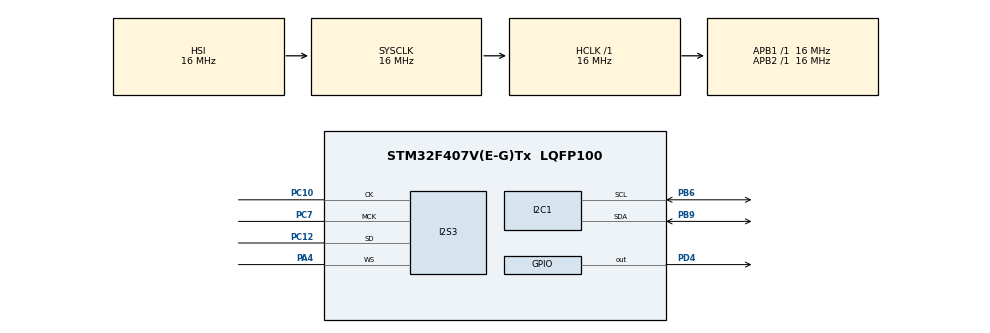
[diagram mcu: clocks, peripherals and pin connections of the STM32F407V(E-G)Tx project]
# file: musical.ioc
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Dma.Request0=SPI3_TX
Dma.SPI3_TX.0.Direction=DMA_MEMORY_TO_PERIPH
Dma.SPI3_TX.0.FIFOMode=DMA_FIFOMODE_ENABLE
Dma.SPI3_TX.0.FIFOThreshold=DMA_FIFO_THRESHOLD_FULL
Dma.SPI3_TX.0.Instance=DMA1_Stream5
Dma.SPI3_TX.0.MemBurst=DMA_MBURST_SINGLE
Dma.SPI3_TX.0.MemDataAlignment=DMA_MDATAALIGN_HALFWORD
Dma.SPI3_TX.0.MemInc=DMA_MINC_ENABLE
Dma.SPI3_TX.0.Mode=DMA_CIRCULAR
Dma.SPI3_TX.0.PeriphBurst=DMA_PBURST_SINGLE
Dma.SPI3_TX.0.PeriphDataAlignment=DMA_PDATAALIGN_HALFWORD
Dma.SPI3_TX.0.PeriphInc=DMA_PINC_DISABLE
Dma.SPI3_TX.0.Priority=DMA_PRIORITY_LOW
I2S3.AudioFreq=I2S_AUDIOFREQ_48K
I2S3.ErrorAudioFreq=-2.34 %
I2S3.FullDuplexMode=I2S_FULLDUPLEXMODE_DISABLE
I2S3.Instance=SPI$Index
I2S3.RealAudioFreq=46.875 KHz
I2S3.VirtualMode=I2S_MODE_MASTER
Mcu.Family=STM32F4
Mcu.Name=STM32F407V(E-G)Tx
Mcu.Package=LQFP100
NVIC.DMA1_Stream5_IRQn=true\:0\:0\:false\:false\:true\:false\:true\:true
NVIC.PriorityGroup=NVIC_PRIORITYGROUP_4
PA4.Mode=Half_Duplex_Master
PA4.Signal=I2S3_WS
PB6.Mode=I2C
PB6.Signal=I2C1_SCL
PB9.Mode=I2C
PB9.Signal=I2C1_SDA
PC10.Mode=Half_Duplex_Master
PC10.Signal=I2S3_CK
PC12.Mode=Half_Duplex_Master
PC12.Signal=I2S3_SD
PC7.Mode=Master_Clock_Activated
PC7.Signal=I2S3_MCK
PD4.Signal=GPIO_Output
ProjectManager.HeapSize=0x200
ProjectManager.StackSize=0x400
ProjectManager.TargetToolchain=STM32CubeIDE
RCC.AHBFreq_Value=16000000
RCC.APB1Freq_Value=16000000
RCC.APB2Freq_Value=16000000
RCC.CortexFreq_Value=16000000
RCC.HSE_VALUE=25000000
RCC.HSI_VALUE=16000000
RCC.LSE_VALUE=32768
RCC.SYSCLKFreq_VALUE=16000000
RCC.VCOOutputFreq_Value=192000000
board=custom

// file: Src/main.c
/* USER CODE BEGIN Header */
/**
  ******************************************************************************
  * @file           : main.c
  * @brief          : Main program body
  ******************************************************************************
  * @attention
  *
  * Copyright (c) 2023 STMicroelectronics.
  * All rights reserved.
  *
  * This software is licensed under terms that can be found in the LICENSE file
  * in the root directory of this software component.
  * If no LICENSE file comes with this software, it is provided AS-IS.
  *
  ******************************************************************************
  */
/* USER CODE END Header */
#include "main.h"

/* USER CODE BEGIN PTD */

typedef enum {
    C4 = 0x00,
    C5 = 0x11,
    D5 = 0x22,
    E5 = 0x33,
    F5 = 0x44,
    G5 = 0x55,
    A5 = 0x66,
    B5 = 0x77,
    C6 = 0x88,
    D6 = 0x99,
    E6 = 0xAA,
    F6 = 0xBB,
    G6 = 0xCC,
    A6 = 0xDD,
    B6 = 0xEE,
    C7 = 0xFF
} BeepFrequencyCode;

/* USER CODE END PTD */

/* USER CODE BEGIN PD */

#define CS43L22_I2C_ADDRESS 0x94
#define I2C_TIMEOUT 10

/* USER CODE END PD */

I2C_HandleTypeDef hi2c1;

I2S_HandleTypeDef hi2s3;
DMA_HandleTypeDef hdma_spi3_tx;

/* USER CODE BEGIN PV */

int16_t dataI2C[100] = {0};

/* USER CODE END PV */

void SystemClock_Config(void);
static void MX_GPIO_Init(void);
static void MX_DMA_Init(void);
static void MX_I2C1_Init(void);
static void MX_I2S3_Init(void);

/* USER CODE BEGIN 0 */
void CS43L22_Init(void)
{
  // Enable chip
  HAL_GPIO_WritePin(GPIOD, GPIO_PIN_4, GPIO_PIN_SET);

  //
  // Initialization
  //
  uint8_t TxBuffer[2];

  TxBuffer[0] = 0x0D;
  TxBuffer[1] = 0x01;
  HAL_I2C_Master_Transmit(&hi2c1, CS43L22_I2C_ADDRESS, (uint8_t*) &TxBuffer, 2, I2C_TIMEOUT);

  TxBuffer[0] = 0x00;
  TxBuffer[1] = 0x99;
  HAL_I2C_Master_Transmit(&hi2c1, CS43L22_I2C_ADDRESS, (uint8_t*) &TxBuffer, 2, I2C_TIMEOUT);

  TxBuffer[0] = 0x47;
  TxBuffer[1] = 0x80;
  HAL_I2C_Master_Transmit(&hi2c1, CS43L22_I2C_ADDRESS, (uint8_t*) &TxBuffer, 2, I2C_TIMEOUT);

  TxBuffer[0] = 0x32;
  TxBuffer[1] = 0xFF;
  HAL_I2C_Master_Transmit(&hi2c1, CS43L22_I2C_ADDRESS, (uint8_t*) &TxBuffer, 2, I2C_TIMEOUT);

  TxBuffer[0] = 0x32;
  TxBuffer[1] = 0x7F;
  HAL_I2C_Master_Transmit(&hi2c1, CS43L22_I2C_ADDRESS, (uint8_t*) &TxBuffer, 2, I2C_TIMEOUT);

  TxBuffer[0] = 0x00;
  TxBuffer[1] = 0x00;
  HAL_I2C_Master_Transmit(&hi2c1, CS43L22_I2C_ADDRESS, (uint8_t*) &TxBuffer, 2, I2C_TIMEOUT);

  TxBuffer[0] = 0x04;
  TxBuffer[1] = 0xAF;
  HAL_I2C_Master_Transmit(&hi2c1, CS43L22_I2C_ADDRESS, (uint8_t*) &TxBuffer, 2, I2C_TIMEOUT);

  TxBuffer[0] = 0x0D;
  TxBuffer[1] = 0x70;
  HAL_I2C_Master_Transmit(&hi2c1, CS43L22_I2C_ADDRESS, (uint8_t*) &TxBuffer, 2, I2C_TIMEOUT);

  TxBuffer[0] = 0x05;
  TxBuffer[1] = 0x81;
  HAL_I2C_Master_Transmit(&hi2c1, CS43L22_I2C_ADDRESS, (uint8_t*) &TxBuffer, 2, I2C_TIMEOUT);

  TxBuffer[0] = 0x06;
  TxBuffer[1] = 0x07;
  HAL_I2C_Master_Transmit(&hi2c1, CS43L22_I2C_ADDRESS, (uint8_t*) &TxBuffer, 2, I2C_TIMEOUT);

  TxBuffer[0] = 0x0A;
  TxBuffer[1] = 0x00;
  HAL_I2C_Master_Transmit(&hi2c1, CS43L22_I2C_ADDRESS, (uint8_t*) &TxBuffer, 2, I2C_TIMEOUT);

  TxBuffer[0] = 0x27;
  TxBuffer[1] = 0x00;
  HAL_I2C_Master_Transmit(&hi2c1, CS43L22_I2C_ADDRESS, (uint8_t*) &TxBuffer, 2, I2C_TIMEOUT);

  TxBuffer[0] = 0x1A;
  TxBuffer[1] = 0x0A;
  HAL_I2C_Master_Transmit(&hi2c1, CS43L22_I2C_ADDRESS, (uint8_t*) &TxBuffer, 2, I2C_TIMEOUT);

  TxBuffer[0] = 0x1B;
  TxBuffer[1] = 0x0A;
  HAL_I2C_Master_Transmit(&hi2c1, CS43L22_I2C_ADDRESS, (uint8_t*) &TxBuffer, 2, I2C_TIMEOUT);

  TxBuffer[0] = 0x1F;
  TxBuffer[1] = 0x0F;
  HAL_I2C_Master_Transmit(&hi2c1, CS43L22_I2C_ADDRESS, (uint8_t*) &TxBuffer, 2, I2C_TIMEOUT);

  TxBuffer[0] = 0x02;
  TxBuffer[1] = 0x9E;
  HAL_I2C_Master_Transmit(&hi2c1, CS43L22_I2C_ADDRESS, (uint8_t*) &TxBuffer, 2, I2C_TIMEOUT);
}

void CS43L22_Beep(BeepFrequencyCode pitch, uint32_t duration_ms)
{
  uint8_t TxBuffer[2];

  // Set volume and off time
  TxBuffer[0] = 0x1D;    // Register address
  TxBuffer[1] = 0x77;    // Value (volume and off time)
  HAL_I2C_Master_Transmit(&hi2c1, CS43L22_I2C_ADDRESS, (uint8_t*) &TxBuffer, 2, I2C_TIMEOUT);

  // Set sound frequency
  TxBuffer[0] = 0x1C;    // Register address

      TxBuffer[1] = pitch;    // Value (frequency and on time)
  HAL_I2C_Master_Transmit(&hi2c1, CS43L22_I2C_ADDRESS, (uint8_t*) &TxBuffer, 2, I2C_TIMEOUT);

  // Enable continuous mode (SOUND STARTED)
  TxBuffer[0] = 0x1E;    // Register address
  TxBuffer[1] = 0xC0;    // Value (beep and tone configuration)
  HAL_I2C_Master_Transmit(&hi2c1, CS43L22_I2C_ADDRESS, (uint8_t*) &TxBuffer, 2, I2C_TIMEOUT);

  // Playing...
  HAL_Delay(duration_ms);
  // Disable continuous mode (SOUND STOPED)
    TxBuffer[0] = 0x1E;    // Register address
    TxBuffer[1] = 0x00;    // Value (beep and tone configuration)
    HAL_I2C_Master_Transmit(&hi2c1, CS43L22_I2C_ADDRESS, (uint8_t*) &TxBuffer, 2, I2C_TIMEOUT);
  }

/* USER CODE END 0 */

int main(void)
{

  /* MCU Configuration--------------------------------------------------------*/

  /* Reset of all peripherals, Initializes the Flash interface and the Systick. */
  HAL_Init();

  /* Configure the system clock */
  SystemClock_Config();

  /* Initialize all configured peripherals */
  MX_GPIO_Init();
  MX_DMA_Init();
  MX_I2C1_Init();
  MX_I2S3_Init();
  /* USER CODE BEGIN 2 */

  CS43L22_Init();

  HAL_I2S_Transmit_DMA(&hi2s3, (uint16_t *)dataI2C, 100);

  uint16_t dataI2S = 0;

  int quarterNote = 60000 / 120;
      int eighthNote = quarterNote / 2;
      int halfNote = quarterNote * 2;
      int dottedQuaterNote = quarterNote + eighthNote;

  /* USER CODE END 2 */

  /* Infinite loop */
  /* USER CODE BEGIN WHILE */
  while (1)
  {
	  // Harry Potter Melody
	  CS43L22_Beep(G5, quarterNote); // G
	  HAL_Delay(100);
	  CS43L22_Beep(A5, quarterNote); // A
	  HAL_Delay(100);
	  CS43L22_Beep(F5, quarterNote); // F
	  HAL_Delay(100);
	  CS43L22_Beep(E5, eighthNote); // E
	  HAL_Delay(100);
	  CS43L22_Beep(D5, quarterNote); // D
	  HAL_Delay(100);
	  CS43L22_Beep(E5, eighthNote); // E
	  HAL_Delay(100);
	  CS43L22_Beep(F5, halfNote);   // F
	  HAL_Delay(100);

	  CS43L22_Beep(G5, quarterNote); // G
	  HAL_Delay(100);
	  CS43L22_Beep(A5, quarterNote); // A
	  HAL_Delay(100);
	  CS43L22_Beep(F5, quarterNote); // F
	  HAL_Delay(100);
	  CS43L22_Beep(E5, eighthNote); // E
	  HAL_Delay(100);
	  CS43L22_Beep(D5, quarterNote); // D
	  HAL_Delay(100);
	  CS43L22_Beep(E5, eighthNote); // E
	  HAL_Delay(100);
	  CS43L22_Beep(F5, halfNote);   // F
	  HAL_Delay(100);

    /* USER CODE END WHILE */

  }
}

void SystemClock_Config(void)
{
  RCC_OscInitTypeDef RCC_OscInitStruct = {0};
  RCC_ClkInitTypeDef RCC_ClkInitStruct = {0};

  /** Macro to configure the PLL multiplication factor
  */
  __HAL_RCC_PLL_PLLM_CONFIG(16);

  /** Macro to configure the PLL clock source
  */
  __HAL_RCC_PLL_PLLSOURCE_CONFIG(RCC_PLLSOURCE_HSI);

  /** Configure the main internal regulator output voltage
  */
  __HAL_RCC_PWR_CLK_ENABLE();
  __HAL_PWR_VOLTAGESCALING_CONFIG(PWR_REGULATOR_VOLTAGE_SCALE1);

  /** Initializes the RCC Oscillators according to the specified parameters
  * in the RCC_OscInitTypeDef structure.
  */
  RCC_OscInitStruct.OscillatorType = RCC_OSCILLATORTYPE_HSI;
  RCC_OscInitStruct.HSIState = RCC_HSI_ON;
  RCC_OscInitStruct.HSICalibrationValue = RCC_HSICALIBRATION_DEFAULT;
  RCC_OscInitStruct.PLL.PLLState = RCC_PLL_NONE;
  RCC_OscInitStruct.PLL.PLLSource = RCC_PLLSOURCE_HSI;
  if (HAL_RCC_OscConfig(&RCC_OscInitStruct) != HAL_OK)
  {
    Error_Handler();
  }

  /** Initializes the CPU, AHB and APB buses clocks
  */
  RCC_ClkInitStruct.ClockType = RCC_CLOCKTYPE_HCLK|RCC_CLOCKTYPE_SYSCLK
                              |RCC_CLOCKTYPE_PCLK1|RCC_CLOCKTYPE_PCLK2;
  RCC_ClkInitStruct.SYSCLKSource = RCC_SYSCLKSOURCE_HSI;
  RCC_ClkInitStruct.AHBCLKDivider = RCC_SYSCLK_DIV1;
  RCC_ClkInitStruct.APB1CLKDivider = RCC_HCLK_DIV1;
  RCC_ClkInitStruct.APB2CLKDivider = RCC_HCLK_DIV1;

  if (HAL_RCC_ClockConfig(&RCC_ClkInitStruct, FLASH_LATENCY_0) != HAL_OK)
  {
    Error_Handler();
  }
}

static void MX_I2C1_Init(void)
{

  hi2c1.Instance = I2C1;
  hi2c1.Init.ClockSpeed = 100000;
  hi2c1.Init.DutyCycle = I2C_DUTYCYCLE_2;
  hi2c1.Init.OwnAddress1 = 0;
  hi2c1.Init.AddressingMode = I2C_ADDRESSINGMODE_7BIT;
  hi2c1.Init.DualAddressMode = I2C_DUALADDRESS_DISABLE;
  hi2c1.Init.OwnAddress2 = 0;
  hi2c1.Init.GeneralCallMode = I2C_GENERALCALL_DISABLE;
  hi2c1.Init.NoStretchMode = I2C_NOSTRETCH_DISABLE;
  if (HAL_I2C_Init(&hi2c1) != HAL_OK)
  {
    Error_Handler();
  }

}

static void MX_I2S3_Init(void)
{

  hi2s3.Instance = SPI3;
  hi2s3.Init.Mode = I2S_MODE_MASTER_TX;
  hi2s3.Init.Standard = I2S_STANDARD_PHILIPS;
  hi2s3.Init.DataFormat = I2S_DATAFORMAT_16B;
  hi2s3.Init.MCLKOutput = I2S_MCLKOUTPUT_ENABLE;
  hi2s3.Init.AudioFreq = I2S_AUDIOFREQ_48K;
  hi2s3.Init.CPOL = I2S_CPOL_LOW;
  hi2s3.Init.ClockSource = I2S_CLOCK_PLL;
  hi2s3.Init.FullDuplexMode = I2S_FULLDUPLEXMODE_DISABLE;
  if (HAL_I2S_Init(&hi2s3) != HAL_OK)
  {
    Error_Handler();
  }

}

static void MX_DMA_Init(void)
{

  /* DMA controller clock enable */
  __HAL_RCC_DMA1_CLK_ENABLE();

  /* DMA interrupt init */
  /* DMA1_Stream5_IRQn interrupt configuration */
  HAL_NVIC_SetPriority(DMA1_Stream5_IRQn, 0, 0);
  HAL_NVIC_EnableIRQ(DMA1_Stream5_IRQn);

}

static void MX_GPIO_Init(void)
{
  GPIO_InitTypeDef GPIO_InitStruct = {0};

  /* GPIO Ports Clock Enable */
  __HAL_RCC_GPIOA_CLK_ENABLE();
  __HAL_RCC_GPIOC_CLK_ENABLE();
  __HAL_RCC_GPIOD_CLK_ENABLE();
  __HAL_RCC_GPIOB_CLK_ENABLE();

  /*Configure GPIO pin Output Level */
  HAL_GPIO_WritePin(GPIOD, GPIO_PIN_4, GPIO_PIN_RESET);

  /*Configure GPIO pin : PD4 */
  GPIO_InitStruct.Pin = GPIO_PIN_4;
  GPIO_InitStruct.Mode = GPIO_MODE_OUTPUT_PP;
  GPIO_InitStruct.Pull = GPIO_NOPULL;
  GPIO_InitStruct.Speed = GPIO_SPEED_FREQ_LOW;
  HAL_GPIO_Init(GPIOD, &GPIO_InitStruct);

}

void Error_Handler(void)
{
  __disable_irq();
  while (1)
  {
  }
}
